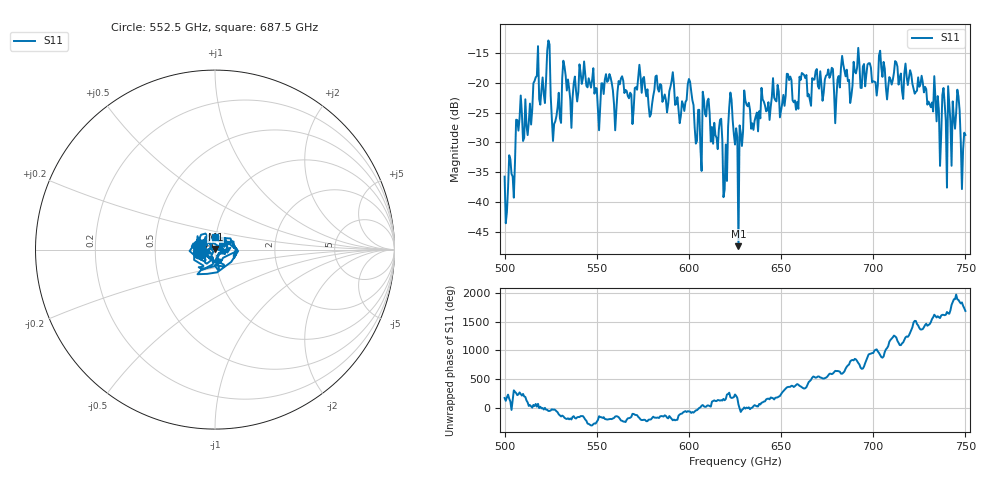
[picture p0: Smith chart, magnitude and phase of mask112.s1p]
!Created with skrf (http://scikit-rf.org).
# GHz S MA R 50.0
!freq magS11 angS11
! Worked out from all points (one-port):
!   401 points, 500 GHz to 750 GHz, reference 50 ohm
!   lowest |S11| = -47.4 dB at 626.9 GHz (marker M1), VSWR 1.01, Z = 50.2 + j0.366 ohm
!   |S11| at or under -10 dB: start of sweep to end of sweep
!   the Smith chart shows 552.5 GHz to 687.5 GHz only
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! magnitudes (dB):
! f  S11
! 500 GHz  -35.7
! 504.4 GHz  -35.7
! 507.5 GHz  -28.0
! 513.8 GHz  -23.5
! 516.9 GHz  -19.1
! 520.6 GHz  -19.1
! 523.8 GHz  -12.9
! 526.9 GHz  -26.9
! 531.2 GHz  -19.2
! 556.2 GHz  -19.6
! 560 GHz  -28.0
! 562.5 GHz  -20.2
! 593.8 GHz  -22.4
! 600.6 GHz  -19.8
! 605.6 GHz  -24.5
! 609.4 GHz  -25.6
! 616.9 GHz  -26.2
! 619.4 GHz  -38.0
! 622.5 GHz  -21.6
! 625 GHz  -30.4
! 626.9 GHz  -47.4
! 631.2 GHz  -23.7
! 635 GHz  -27.9
! 656.2 GHz  -22.9
! 687.5 GHz  -23.4
! 690.6 GHz  -18.4
! 718.8 GHz  -20.4
! 750 GHz  -28.7
